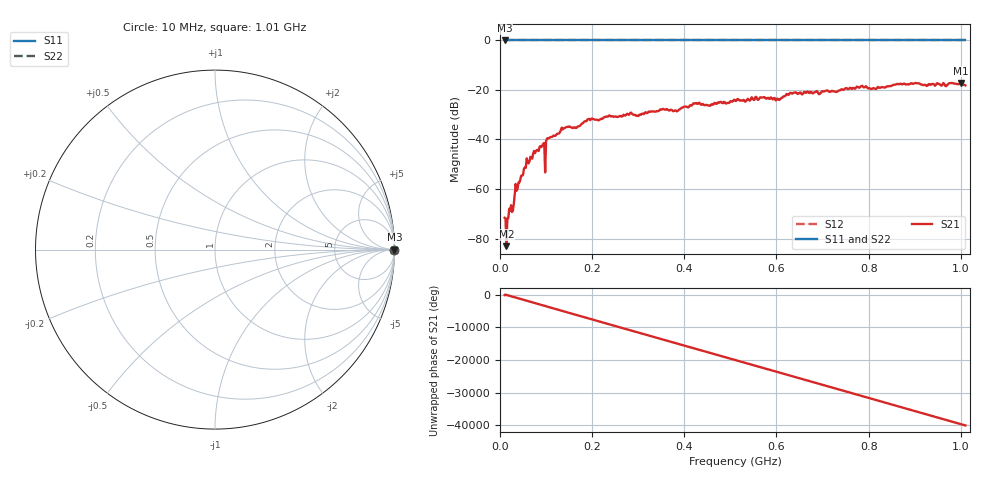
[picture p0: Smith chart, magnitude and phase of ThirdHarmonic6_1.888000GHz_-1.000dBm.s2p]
! 8/16/2025 10:48:15 PM
! C:\ANRITSUVNA\TEMP\TEMP.S2P
! CHANNEL.1
! TR.MEASUREMENT
! RAW.DATA
! RF.CORRECTION.OFF
! AVERAGING.OFF
! IF.BANDWIDTH: 5KHZ
! SWEEPTYPE:  FREQ.SWEEP(Linear)
! Reference Plane Port Info
! PORT:  PORT1  PORT2
! DISTANCE:  0  m  0  m
! TIME:  0  s  0  s
! PHASE.OFFSET:  0  deg.  0  deg.
! LOSS:  0  dB  0  dB
! REF.LOSS:  0  dB  0  dB
! REF.FREQ:  0  Hz  0  Hz
! Power Info
! POWER:  -20  dBm  -20  dBm
! EFF.POWER:  -20  dBm  -20  dBm
! SOURCE.ATTEN:  0  dB  0  dB
! TEST.ATTEN:  0  dB  0  dB
# GHZ S RI R 50.0
! FREQ.GHZ  S11RE  S11IM  S21RE  S21IM  S12RE  S12IM  S22RE  S22IM
!; PortSelection: Port_12
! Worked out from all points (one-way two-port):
!   501 points, 10 MHz to 1.01 GHz, reference 50 ohm
!   highest |S21| = -17.16 dB at 1 GHz (marker M1); lowest = -83.1 dB at 14 MHz (marker M2)
!   lowest |S11| = 0.0 dB at 10 MHz (marker M3)
!   |S11| at or under -10 dB: nowhere
!   |S22| runs from 0.0 to 0.0 dB; largest |S21 - S12| = 1.1
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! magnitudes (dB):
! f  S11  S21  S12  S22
! 10 MHz  0.0  -71.6  0.0  0.0
! 14 MHz  0.0  -83.1  0.0  0.0
! 20 MHz  0.0  -68.0  0.0  0.0
! 26 MHz  0.0  -69.3  0.0  0.0
! 36 MHz  0.0  -60.7  0.0  0.0
! 56 MHz  0.0  -51.4  0.0  0.0
! 76 MHz  0.0  -45.5  0.0  0.0
! 92 MHz  0.0  -42.4  0.0  0.0
! 94 MHz  0.0  -41.7  0.0  0.0
! 102 MHz  0.0  -39.7  0.0  0.0
! 104 MHz  0.0  -39.4  0.0  0.0
! 138 MHz  0.0  -35.5  0.0  0.0
! 178 MHz  0.0  -33.5  0.0  0.0
! 196 MHz  0.0  -32.2  0.0  0.0
! 344 MHz  0.0  -28.5  0.0  0.0
! 510 MHz  0.0  -24.3  0.0  0.0
! 602 MHz  0.0  -23.5  0.0  0.0
! 634 MHz  0.0  -21.5  0.0  0.0
! 678 MHz  0.0  -21.4  0.0  0.0
! 844 MHz  0.0  -18.4  0.0  0.0
! 1 GHz  0.0  -17.2  0.0  0.0
! 1.01 GHz  0.0  -18.1  0.0  0.0
